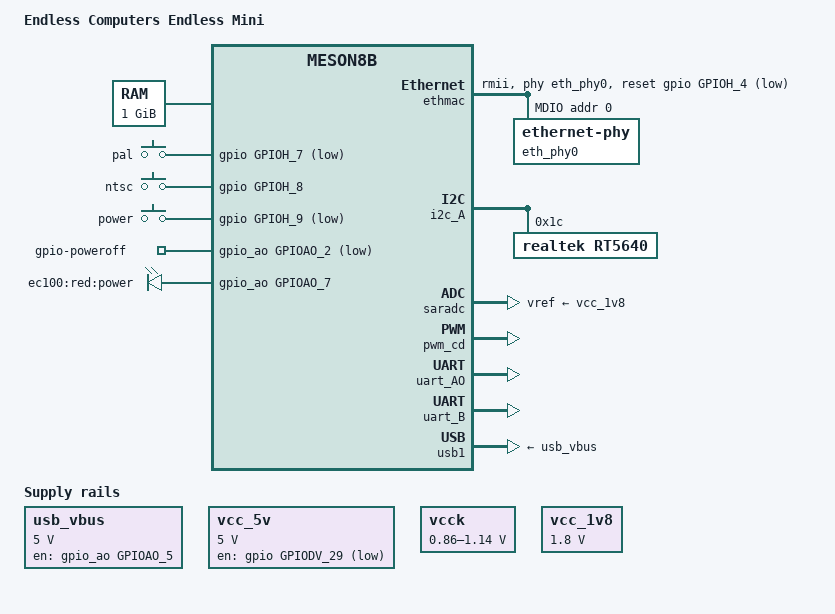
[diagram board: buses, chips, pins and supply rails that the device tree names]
// SPDX-License-Identifier: (GPL-2.0+ OR MIT)
/*
 * Copyright (c) 2018 Martin Blumenstingl <martin.blumenstingl@googlemail.com>.
 */

/dts-v1/;

#include <dt-bindings/gpio/gpio.h>
#include <dt-bindings/input/input.h>

#include "meson8b.dtsi"

/ {
	model = "Endless Computers Endless Mini";
	compatible = "endless,ec-100", "amlogic,meson8b";

	aliases {
		serial0 = &uart_AO;
		serial1 = &uart_B;
	};

	memory {
		reg = <0x40000000 0x40000000>;
	};

	gpio-keys {
		compatible = "gpio-keys-polled";
		#address-cells = <1>;
		#size-cells = <0>;
		poll-interval = <100>;

		pal-switch {
			label = "pal";
			linux,input-type = <EV_SW>;
			linux,code = <KEY_SWITCHVIDEOMODE>;
			gpios = <&gpio GPIOH_7 GPIO_ACTIVE_LOW>;
		};

		ntsc-switch {
			label = "ntsc";
			linux,input-type = <EV_SW>;
			linux,code = <KEY_SWITCHVIDEOMODE>;
			gpios = <&gpio GPIOH_8 GPIO_ACTIVE_HIGH>;
		};

		power-button {
			label = "power";
			linux,code = <KEY_POWER>;
			gpios = <&gpio GPIOH_9 GPIO_ACTIVE_LOW>;
		};
	};

	gpio-poweroff {
		compatible = "gpio-poweroff";
		/*
		 * shutdown is managed by the EC (embedded micro-controller)
		 * which is configured through GPIOAO_2 (poweroff GPIO) and
		 * GPIOAO_7 (power LED, which has to go LOW as well).
		 */
		gpios = <&gpio_ao GPIOAO_2 GPIO_ACTIVE_LOW>;
		timeout-ms = <20000>;
	};

	leds {
		compatible = "gpio-leds";

		power {
			label = "ec100:red:power";
			/*
			 * Needs to go LOW (together with the poweroff GPIO)
			 * during shutdown to allow the EC (embedded
			 * micro-controller) to shutdown the system. Setting
			 * the output to LOW signals the EC to start a
			 * "breathing"/pulsing effect until the power is fully
			 * turned off.
			 */
			gpios = <&gpio_ao GPIOAO_7 GPIO_ACTIVE_HIGH>;
			default-state = "on";
		};
	};

	usb_vbus: regulator-usb-vbus {
		compatible = "regulator-fixed";

		regulator-name = "USB_VBUS";

		regulator-min-microvolt = <5000000>;
		regulator-max-microvolt = <5000000>;

		gpio = <&gpio_ao GPIOAO_5 GPIO_ACTIVE_HIGH>;
		enable-active-high;
		regulator-always-on; // FIXME: why?
	};

	vcc_5v: regulator-vcc5v {
		compatible = "regulator-fixed";

		regulator-name = "VCC5V";

		regulator-min-microvolt = <5000000>;
		regulator-max-microvolt = <5000000>;

		gpio = <&gpio GPIODV_29 GPIO_ACTIVE_LOW>;
		regulator-boot-on;
		regulator-always-on;
	};

	vcck: regulator-vcck {
		compatible = "pwm-regulator";
		pwms = <&pwm_cd 0 1166 0>;
		regulator-min-microvolt = <860000>;
		regulator-max-microvolt = <1140000>;
		regulator-name = "VCCK";
		pwm-dutycycle-range = <100 0>;
		regulator-boot-on;
		regulator-always-on;
	};

	vcc_1v8: regulator-vcc1v8 {
		compatible = "regulator-fixed";
		regulator-name = "VCC1V8";
		regulator-min-microvolt = <1800000>;
		regulator-max-microvolt = <1800000>;
	};
};

&cpu0 {
	cpu-supply = <&vcck>;
};

&ethmac {
	status = "okay";

	pinctrl-0 = <&eth_rmii_pins>;
	pinctrl-names = "default";

	phy-handle = <&eth_phy0>;
	phy-mode = "rmii";

	snps,reset-gpio = <&gpio GPIOH_4 0>;
	snps,reset-delays-us = <0 10000 1000000>;
	snps,reset-active-low;

	mdio {
		compatible = "snps,dwmac-mdio";
		#address-cells = <1>;
		#size-cells = <0>;

		eth_phy0: ethernet-phy@0 {
			/* IC Plus IP101A/G (0x02430c54) */
			reg = <0>;
		};
	};
};

&i2c_A {
	status = "okay";
	pinctrl-0 = <&i2c_a_pins>;
	pinctrl-names = "default";

	rt5640: codec@1c {
		compatible = "realtek,rt5640";
		reg = <0x1c>;
		interrupt-parent = <&gpio_intc>;
		interrupts = <13 IRQ_TYPE_EDGE_BOTH>; /* GPIOAO_13 */
		realtek,in1-differential;
	};
};

&saradc {
	status = "okay";
	vref-supply = <&vcc_1v8>;
};

&pwm_cd {
	status = "okay";
	pinctrl-0 = <&pwm_c1_pins>;
	pinctrl-names = "default";
	clocks = <&clkc CLKID_XTAL>;
	clock-names = "clkin0";
};

/* exposed through the pin headers labeled "URDUG1" on the top of the PCB */
&uart_AO {
	status = "okay";
	pinctrl-0 = <&uart_ao_a_pins>;
	pinctrl-names = "default";
};

/* connected to the Bluetooth module (only available on the "32 GB" variant) */
&uart_B {
	status = "okay";
	pinctrl-0 = <&uart_b0_pins>, <&uart_b0_cts_rts_pins>;
	pinctrl-names = "default";
	uart-has-rtscts;
};

&usb1 {
	status = "okay";
	vbus-supply = <&usb_vbus>;
};

&usb1_phy {
	// status = "okay"; // FIXME: why does the board hang with this enabled?
};
